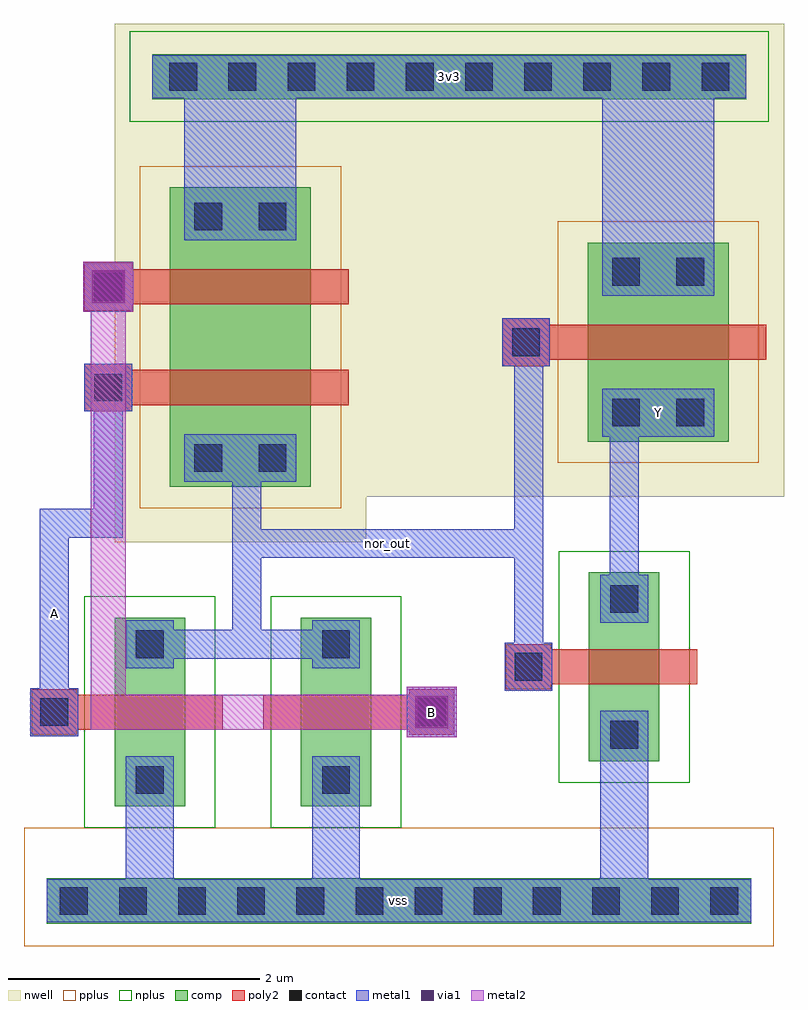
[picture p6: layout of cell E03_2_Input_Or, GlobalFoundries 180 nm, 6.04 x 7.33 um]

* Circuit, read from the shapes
.subckt E03_2_Input_Or 3v3 A B Y nor_out vss
XM1 nor_out A vss vss nfet_03v3 w=0.56u l=0.28u
XM2 nor_out B vss vss nfet_03v3 w=0.56u l=0.28u
XM3 Y nor_out vss vss nfet_03v3 w=0.56u l=0.28u
XM4 n1 A nor_out 3v3 pfet_03v3 w=1.12u l=0.28u
XM5 3v3 B n1 3v3 pfet_03v3 w=1.12u l=0.28u
XM6 3v3 nor_out Y 3v3 pfet_03v3 w=1.12u l=0.28u
.ends

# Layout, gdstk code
import gdstk
lib = gdstk.Library(unit=1e-6, precision=1e-09)
def R(c, l, rs):  # rectangles x0, y0, x1, y1
    for r in rs: c.add(gdstk.rectangle(r[:2], r[2:], *l))
def A(c, l, x, y, w, h, nx, ny, dx, dy):  # array of equal rectangles
    R(c, l, [(x+i*dx, y+j*dy, x+i*dx+w, y+j*dy+h) for i in range(nx) for j in range(ny)])
def P(c, l, *ps):  # polygons
    for p in ps: c.add(gdstk.Polygon(p, *l))
nwell = (21, 0)
comp = (22, 0)
poly2 = (30, 0)
pplus = (31, 0)
nplus = (32, 0)
contact = (33, 0)
metal1 = (34, 0)
via1 = (35, 0)
metal2 = (36, 0)

e03_2_input_or = lib.new_cell('E03_2_Input_Or')
P(e03_2_input_or, nwell, [(-1.06,0.03),(-1.06,4.15),(4.26,4.15),(4.26,0.39),(0.94,0.39),(0.94,0.03)])
R(e03_2_input_or, comp, [(-1.6,-3,4,-2.64), (-1.06,-2.07,-0.5,-0.57), (0.42,-2.07,0.98,-0.57), (2.71,-1.71,3.27,-0.21), (-0.62,0.47,0.5,2.85), (2.7,0.83,3.82,2.41), (-0.76,3.55,3.96,3.91)])
P(e03_2_input_or, poly2, [(-1.72,-1.5),(-1.72,-1.14),(-1.36,-1.14),(-1.36,-1.18),(-0.2,-1.18),(-0.2,-1.46),(-1.36,-1.46),(-1.36,-1.5)],
  [(1.28,-1.5),(1.28,-1.46),(0.12,-1.46),(0.12,-1.18),(1.28,-1.18),(1.28,-1.14),(1.64,-1.14),(1.64,-1.5)],
  [(2.05,-1.14),(2.05,-0.78),(2.41,-0.78),(2.41,-0.82),(3.57,-0.82),(3.57,-1.1),(2.41,-1.1),(2.41,-1.14)],
  [(-1.3,1.07),(-1.3,1.45),(-0.92,1.45),(-0.92,1.4),(0.8,1.4),(0.8,1.12),(-0.92,1.12),(-0.92,1.07)],
  [(2.02,1.43),(2.02,1.81),(2.4,1.81),(2.4,1.76),(4.12,1.76),(4.12,1.48),(2.4,1.48),(2.4,1.43)],
  [(-1.3,1.87),(-1.3,2.25),(-0.92,2.25),(-0.92,2.2),(0.8,2.2),(0.8,1.92),(-0.92,1.92),(-0.92,1.87)])
R(e03_2_input_or, pplus, [(-1.78,-3.18,4.18,-2.24), (-0.86,0.3,0.74,3.02), (2.46,0.66,4.06,2.58)])
R(e03_2_input_or, nplus, [(-1.3,-2.24,-0.26,-0.4), (0.18,-2.24,1.22,-0.4), (2.47,-1.88,3.51,-0.04), (-0.94,3.37,4.14,4.09)])
A(e03_2_input_or, contact, -1.495, -2.93, 0.22, 0.22, 12, 1, 0.47, 0)
A(e03_2_input_or, contact, -0.625, 3.62, 0.22, 0.22, 10, 1, 0.47, 0)
R(e03_2_input_or, contact, [(-0.89,-1.97,-0.67,-1.75), (0.59,-1.97,0.81,-1.75), (2.88,-1.61,3.1,-1.39), (-1.65,-1.43,-1.43,-1.21), (1.35,-1.43,1.57,-1.21), (2.12,-1.07,2.34,-0.85), (-0.89,-0.89,-0.67,-0.67), (0.59,-0.89,0.81,-0.67), (2.88,-0.53,3.1,-0.31), (-0.425,0.59,-0.205,0.81), (0.085,0.59,0.305,0.81), (2.895,0.95,3.115,1.17), (3.405,0.95,3.625,1.17), (-1.22,1.15,-1,1.37), (2.1,1.51,2.32,1.73), (-1.22,1.95,-1,2.17), (2.895,2.07,3.115,2.29), (3.405,2.07,3.625,2.29), (-0.425,2.51,-0.205,2.73), (0.085,2.51,0.305,2.73)])
R(e03_2_input_or, metal1, [(1.26,-1.52,1.66,-1.12), (-1.31,1.86,-0.91,2.26)])
P(e03_2_input_or, metal1, [(-1.6,-2.99),(-1.6,-2.65),(-0.97,-2.65),(-0.97,-1.67),(-0.59,-1.67),(-0.59,-2.65),(0.51,-2.65),(0.51,-1.67),(0.89,-1.67),(0.89,-2.65),(2.8,-2.65),(2.8,-1.31),(3.18,-1.31),(3.18,-2.65),(4,-2.65),(4,-2.99)],
  [(2.8,-0.61),(2.8,-0.23),(2.875,-0.23),(2.875,0.87),(2.815,0.87),(2.815,1.25),(3.705,1.25),(3.705,0.87),(3.105,0.87),(3.105,-0.23),(3.18,-0.23),(3.18,-0.61)],
  [(-1.73,-1.51),(-1.73,-1.13),(-1.655,-1.13),(-1.655,0.295),(-1.225,0.295),(-1.225,1.07),(-1.3,1.07),(-1.3,1.45),(-0.92,1.45),(-0.92,1.07),(-0.995,1.07),(-0.995,0.065),(-1.425,0.065),(-1.425,-1.13),(-1.35,-1.13),(-1.35,-1.51)],
  [(2.04,-1.15),(2.04,-0.77),(2.115,-0.77),(2.115,-0.095),(0.105,-0.095),(0.105,-0.665),(0.51,-0.665),(0.51,-0.59),(0.89,-0.59),(0.89,-0.97),(0.51,-0.97),(0.51,-0.895),(-0.59,-0.895),(-0.59,-0.97),(-0.97,-0.97),(-0.97,-0.59),(-0.59,-0.59),(-0.59,-0.665),(-0.125,-0.665),(-0.125,0.51),(-0.505,0.51),(-0.505,0.89),(0.385,0.89),(0.385,0.51),(0.105,0.51),(0.105,0.135),(2.115,0.135),(2.115,1.43),(2.02,1.43),(2.02,1.81),(2.4,1.81),(2.4,1.43),(2.345,1.43),(2.345,-0.77),(2.42,-0.77),(2.42,-1.15)],
  [(2.815,1.99),(2.815,3.56),(0.385,3.56),(0.385,2.43),(-0.505,2.43),(-0.505,3.56),(-0.76,3.56),(-0.76,3.9),(3.96,3.9),(3.96,3.56),(3.705,3.56),(3.705,1.99)])
R(e03_2_input_or, via1, [(1.33,-1.45,1.59,-1.19), (-1.24,1.93,-0.98,2.19)])
P(e03_2_input_or, metal2, [(1.26,-1.52),(1.26,-1.46),(-1.25,-1.46),(-1.25,1.86),(-1.31,1.86),(-1.31,2.26),(-0.91,2.26),(-0.91,1.86),(-0.97,1.86),(-0.97,-1.18),(1.26,-1.18),(1.26,-1.12),(1.66,-1.12),(1.66,-1.52)])
e03_2_input_or.add(gdstk.Label('A', (-1.54,-0.533), layer=34, texttype=10))
e03_2_input_or.add(gdstk.Label('B', (1.46,-1.32), layer=34, texttype=10))
e03_2_input_or.add(gdstk.Label('nor_out', (1.11,0.02), layer=34, texttype=10))
e03_2_input_or.add(gdstk.Label('Y', (3.26,1.06), layer=34, texttype=10))
e03_2_input_or.add(gdstk.Label('3v3', (1.6,3.73), layer=34, texttype=10))
e03_2_input_or.add(gdstk.Label('vss', (1.2,-2.82), layer=34, texttype=10))

lib.write_gds('E03_2_Input_Or.gds')
